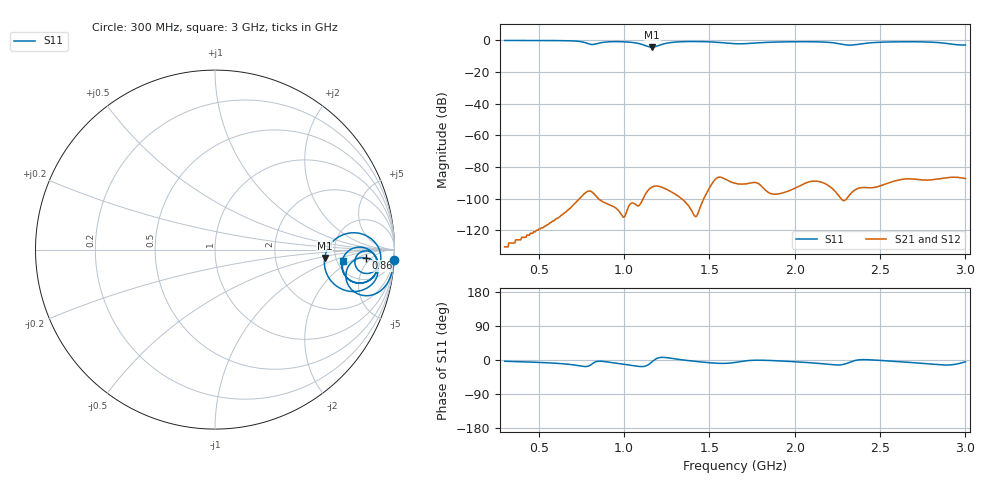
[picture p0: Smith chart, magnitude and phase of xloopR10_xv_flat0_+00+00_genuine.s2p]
! xloopR10_xv_flat0_+00+00_genuine, gap C 0.80 pF
! simulated by sim/fixtures_fdtd.py (S12 = S21, S22 not computed)
# HZ S RI R 50
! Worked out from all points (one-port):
!   541 points, 300 MHz to 3 GHz, reference 50 ohm
!   lowest |S11| = -4.3 dB at 1.165 GHz (marker M1), VSWR 4.16, Z = 203 - j30.7 ohm
!   |S11| at or under -10 dB: nowhere
!   S11 on the Smith chart (normalised r, x): 300 MHz: 1, -35; 860 MHz: 10, -3; 3 GHz: 5.73, -1.44
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3e8  0.9974 -0.0578  0 -3e-07  0 -3e-07  0 0
6.4e8  0.9705 -0.169  -1.1e-06 -3e-06  -1.1e-06 -3e-06  0 0
7.5e8  0.8747 -0.253  -1.05e-05 -4.8e-06  -1.05e-05 -4.8e-06  0 0
8.1e8  0.729 -0.1442  -1.04e-05 1.29e-05  -1.04e-05 1.29e-05  0 0
8.6e8  0.8387 -0.0453  -3e-07 9e-06  -3e-07 9e-06  0 0
9.65e8  0.9042 -0.1444  1.6e-06 4.1e-06  1.6e-06 4.1e-06  0 0
1.08e9  0.7778 -0.2337  -5e-07 5.9e-06  -5e-07 5.9e-06  0 0
1.12e9  0.6738 -0.2008  -4.2e-06 1.16e-05  -4.2e-06 1.16e-05  0 0
1.165e9  0.6108 -0.0473  1.01e-05 2.12e-05  1.01e-05 2.12e-05  0 0
1.2e9  0.6805 0.0653  2.23e-05 1.07e-05  2.23e-05 1.07e-05  0 0
1.275e9  0.8573 0.0696  1.4e-05 -9.1e-06  1.4e-05 -9.1e-06  0 0
1.365e9  0.9205 -0.0155  5e-07 -7.2e-06  5e-07 -7.2e-06  0 0
1.54e9  0.8676 -0.1295  4.34e-05 3.6e-06  4.34e-05 3.6e-06  0 0
1.65e9  0.7821 -0.0882  -3.3e-06 -3.05e-05  -3.3e-06 -3.05e-05  0 0
1.795e9  0.847 -0.00745  -2.77e-05 -3.7e-06  -2.77e-05 -3.7e-06  0 0
2.1e9  0.902 -0.1194  -1.77e-05 3.07e-05  -1.77e-05 3.07e-05  0 0
2.24e9  0.8011 -0.1857  1.62e-05 -1.7e-06  1.62e-05 -1.7e-06  0 0
2.315e9  0.7059 -0.0898  -1.16e-05 -2.3e-06  -1.16e-05 -2.3e-06  0 0
2.395e9  0.7904 0.013  -3.7e-06 2.22e-05  -3.7e-06 2.22e-05  0 0
2.55e9  0.8941 -0.0405  2.23e-05 2.22e-05  2.23e-05 2.22e-05  0 0
2.865e9  0.8118 -0.1877  3.9e-06 -4.39e-05  3.9e-06 -4.39e-05  0 0
3e9  0.7157 -0.0608  -3.8e-05 -2.04e-05  -3.8e-05 -2.04e-05  0 0
